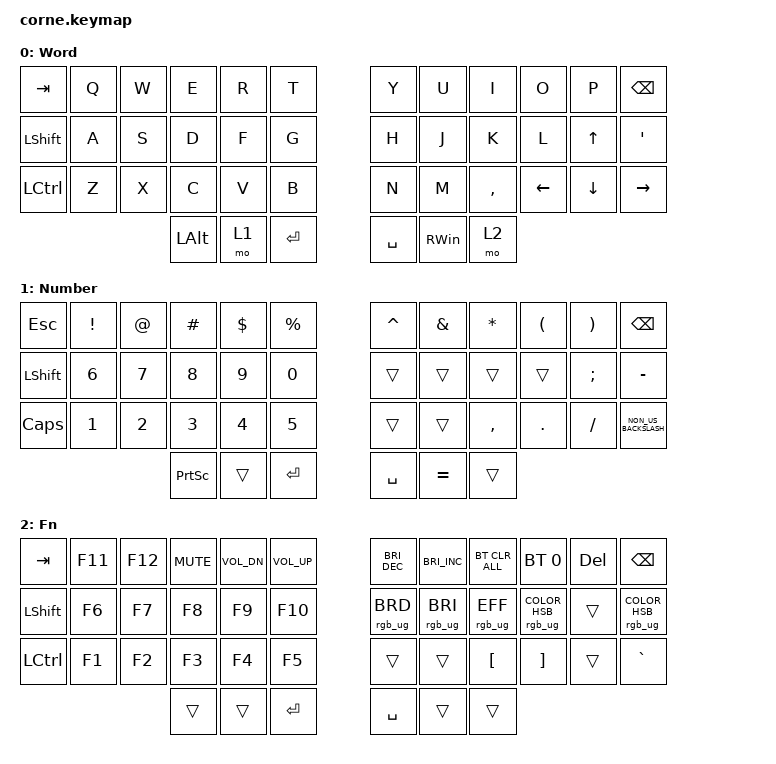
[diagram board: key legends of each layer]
/*
 * Copyright (c) 2020 The ZMK Contributors
 *
 * SPDX-License-Identifier: MIT
 */

#include <behaviors.dtsi>
#include <dt-bindings/zmk/bt.h>
#include <dt-bindings/zmk/keys.h>
#include <dt-bindings/zmk/rgb.h>

/ {
    keymap {
        compatible = "zmk,keymap";

        default_layer {
            // -----------------------------------------------------------------------------------------
            // |  TAB |  Q  |  W  |  E  |  R  |  T  |   |  Y  |  U   |  I  |  O  |  P  | BKSP |
            // | CTRL |  A  |  S  |  D  |  F  |  G  |   |  H  |  J   |  K  |  L  |  ;  |  '   |
            // | SHFT |  Z  |  X  |  C  |  V  |  B  |   |  N  |  M   |  ,  |  .  |  /  | ESC  |
            //                    | GUI | LWR | SPC |   | ENT | RSE  | ALT |

            display-name = "Word";
            bindings = <
&kp TAB         &kp Q  &kp W  &kp E         &kp R  &kp T        &kp Y      &kp U          &kp I      &kp O           &kp P           &kp BSPC
&kp LEFT_SHIFT  &kp A  &kp S  &kp D         &kp F  &kp G        &kp H      &kp J          &kp K      &kp L           &kp UP_ARROW    &kp SQT
&kp LCTRL       &kp Z  &kp X  &kp C         &kp V  &kp B        &kp N      &kp M          &kp COMMA  &kp LEFT_ARROW  &kp DOWN_ARROW  &kp RIGHT_ARROW
                              &kp LEFT_ALT  &mo 1  &kp ENTER    &kp SPACE  &kp RIGHT_WIN  &mo 2
            >;
        };

        raise_layer {
            // -----------------------------------------------------------------------------------------
            // |  TAB |  !  |  @  |  #  |  $  |  %  |   |  ^  |  &  |  *  |  (  |  )  | BKSP |
            // | CTRL |     |     |     |     |     |   |  -  |  =  |  [  |  ]  |  \  |  `   |
            // | SHFT |     |     |     |     |     |   |  _  |  +  |  {  |  }  | "|" |  ~   |
            //                    | GUI |     | SPC |   | ENT |     | ALT |

            display-name = "Number";
            bindings = <
&kp ESC         &kp EXCL      &kp AT        &kp HASH         &kp DLLR      &kp PRCNT       &kp CARET  &kp AMPS   &kp ASTRK  &kp LPAR    &kp RPAR       &kp BSPC
&kp LEFT_SHIFT  &kp NUMBER_6  &kp N7        &kp N8           &kp N9        &kp NUMBER_0    &trans     &trans     &trans     &trans      &kp SEMICOLON  &kp MINUS
&kp CAPS        &kp NUMBER_1  &kp NUMBER_2  &kp NUMBER_3     &kp NUMBER_4  &kp N5          &trans     &trans     &kp COMMA  &kp PERIOD  &kp SLASH      &kp NON_US_BACKSLASH
                                            &kp PRINTSCREEN  &trans        &kp ENTER       &kp SPACE  &kp EQUAL  &trans
            >;
        };

        lower_layer {
            // -----------------------------------------------------------------------------------------
            // |  TAB |  1  |  2  |  3  |  4  |  5  |   |  6  |  7  |  8  |  9  |  0  | BKSP |
            // | BTCLR| BT1 | BT2 | BT3 | BT4 | BT5 |   | LFT | DWN |  UP | RGT |     |      |
            // | SHFT |     |     |     |     |     |   |     |     |     |     |     |      |
            //                    | GUI |     | SPC |   | ENT |     | ALT |

            display-name = "Fn";
            bindings = <
&kp TAB         &kp F11  &kp F12  &kp C_MUTE  &kp C_VOL_DN  &kp C_VOLUME_UP    &kp C_BRIGHTNESS_DEC  &kp C_BRIGHTNESS_INC  &bt BT_CLR_ALL    &bt BT_SEL 0                      &kp DELETE  &kp BACKSPACE
&kp LEFT_SHIFT  &kp F6   &kp F7   &kp F8      &kp F9        &kp F10            &rgb_ug RGB_BRD       &rgb_ug RGB_BRI       &rgb_ug RGB_EFF   &rgb_ug RGB_COLOR_HSB(325,81,81)  &trans      &rgb_ug RGB_COLOR_HSB(195,100,50)
&kp LCTRL       &kp F1   &kp F2   &kp F3      &kp F4        &kp F5             &trans                &trans                &kp LEFT_BRACKET  &kp RIGHT_BRACKET                 &trans      &kp GRAVE
                                  &trans      &trans        &kp ENTER          &kp SPACE             &trans                &trans
            >;
        };
    };
};
